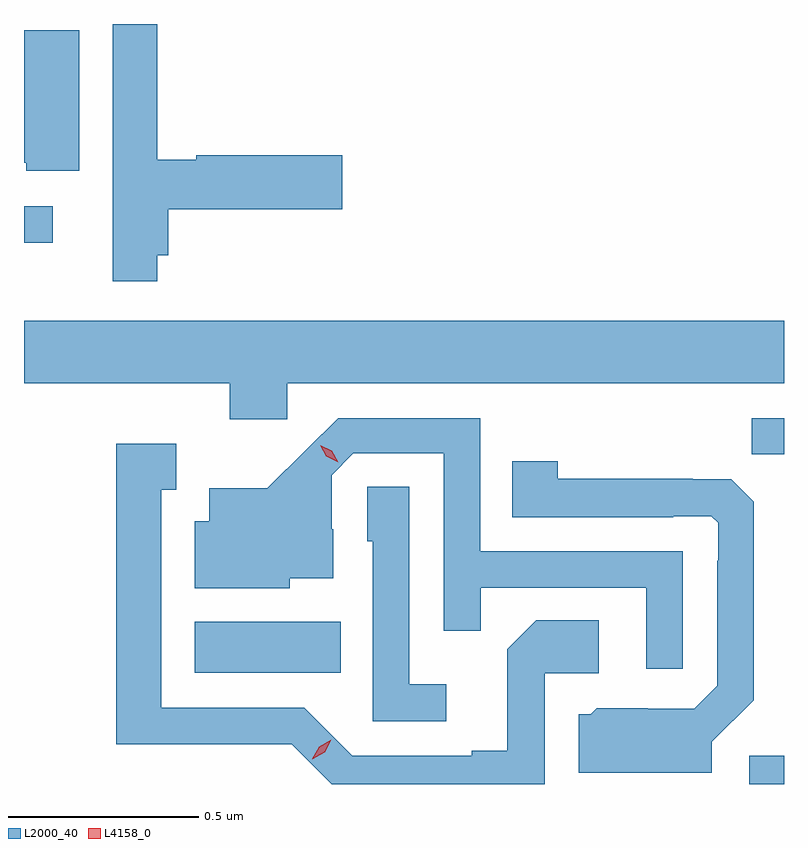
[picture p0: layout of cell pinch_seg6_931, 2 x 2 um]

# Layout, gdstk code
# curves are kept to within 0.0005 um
import gdstk
lib = gdstk.Library(unit=1e-6, precision=1e-09)
def R(c, l, rs):  # rectangles x0, y0, x1, y1
    for r in rs: c.add(gdstk.rectangle(r[:2], r[2:], *l))
def P(c, l, *ps):  # polygons
    for p in ps: c.add(gdstk.Polygon(p, *l))
L2000_40 = (2000, 40)
L4158_0 = (4158, 0)

pinch_seg6_931 = lib.new_cell('pinch_seg6_931')
R(pinch_seg6_931, L2000_40, [(144.825,918.309,144.917,918.384), (143.366,918.602,143.75,918.736), (144.832,919.177,144.917,919.272), (142.917,919.733,142.993,919.83)])
P(pinch_seg6_931, L2000_40, [(143.267,919.7),(143.297,919.7),(143.297,919.822),(143.755,919.822),(143.755,919.964),(143.37,919.964),(143.37,919.952),(143.267,919.952),(143.267,920.309),(143.151,920.309),(143.151,919.632),(143.267,919.632)],
  [(143.062,920.293),(142.917,920.293),(142.917,919.944),(142.923,919.944),(142.923,919.923),(143.062,919.923)],
  [(143.61,919.364),(144.917,919.364),(144.917,919.528),(142.917,919.528),(142.917,919.364),(143.459,919.364),(143.459,919.269),(143.61,919.269)],
  [(144.651,918.921),(144.117,918.921),(144.117,919.272),(143.744,919.272),(143.557,919.087),(143.405,919.087),(143.405,919),(143.366,919),(143.366,918.824),(143.616,918.824),(143.616,918.851),(143.731,918.851),(143.731,918.98),(143.727,918.98),(143.727,919.122),(143.784,919.179),(144.021,919.179),(144.021,918.712),(144.119,918.712),(144.119,918.825),(144.555,918.825),(144.555,918.612),(144.651,918.612)],
  [(144.288,918.6),(144.43,918.6),(144.43,918.74),(144.265,918.74),(144.189,918.664),(144.189,918.397),(144.095,918.397),(144.095,918.384),(143.781,918.384),(143.655,918.51),(143.278,918.51),(143.278,919.083),(143.317,919.083),(143.317,919.204),(143.16,919.204),(143.16,918.413),(143.4,918.413),(143.4,918.414),(143.622,918.414),(143.727,918.309),(144.288,918.309)],
  [(144.727,918.42),(144.837,918.53),(144.837,919.052),(144.778,919.111),(144.677,919.111),(144.677,919.112),(144.321,919.112),(144.321,919.159),(144.202,919.159),(144.202,919.011),(144.626,919.011),(144.626,919.014),(144.726,919.014),(144.744,918.996),(144.744,918.896),(144.741,918.896),(144.741,918.567),(144.681,918.507),(144.558,918.507),(144.558,918.508),(144.424,918.508),(144.408,918.492),(144.377,918.492),(144.377,918.338),(144.727,918.338)],
  [(144.028,918.571),(143.931,918.571),(143.931,919.091),(143.82,919.091),(143.82,918.948),(143.835,918.948),(143.835,918.474),(144.028,918.474)])
P(pinch_seg6_931, L4158_0, [(143.744,919.156),(143.713,919.171),(143.696,919.2),(143.696,919.201),(143.696,919.201),(143.727,919.186),(143.744,919.156),(143.744,919.156)],
  [(143.676,918.374),(143.676,918.375),(143.694,918.407),(143.726,918.426),(143.726,918.426),(143.726,918.425),(143.708,918.393),(143.676,918.374)])

lib.write_gds('pinch_seg6_931.gds')
